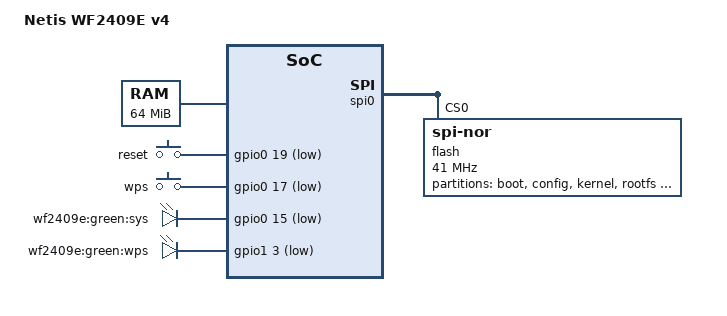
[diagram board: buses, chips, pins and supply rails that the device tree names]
// SPDX-License-Identifier: GPL-2.0
/dts-v1/;

#include "RTL8197F.dtsi"

#include <dt-bindings/gpio/gpio.h>
#include <dt-bindings/input/input.h>

/ {
	compatible = "netis,wf2409e-v4", "realtek,rtl8197f-soc";
	model = "Netis WF2409E v4";

	memory {
		device_type = "memory";
		reg = <0x0 0x4000000>;
	};

	chosen {
		bootargs = "console=ttyS0,38400 root=/dev/mtdblock3 rootfstype=squashfs rootwait";
	};

	gpio-keys-polled {
		compatible = "gpio-keys-polled";
		#address-cells = <1>;
		#size-cells = <0>;
		poll-interval = <20>;

		reset {
			label = "reset";
			gpios = <&gpio0 19 GPIO_ACTIVE_LOW>;
			linux,code = <KEY_RESTART>;
		};

		wps {
			label = "wps";
			gpios = <&gpio0 17 GPIO_ACTIVE_LOW>;
			linux,code = <KEY_WPS_BUTTON>;
		};
	};

	gpio-leds {
		compatible = "gpio-leds";

		sys {
			label = "wf2409e:green:sys";
			gpios = <&gpio0 15 GPIO_ACTIVE_LOW>;
			default-state = "on";
		};

		wps {
			label = "wf2409e:green:wps";
			gpios = <&gpio1 3 GPIO_ACTIVE_LOW>;
			default-state = "off";
		};
	};
};

/*
 * The WF2409E has only the internal RTL865x 5-port switch. The ADCDS
 * rtl819x-eth driver otherwise force-configures port 0 as an RGMII trunk to
 * an external RTL8367S, which would turn a LAN jack into a dead RGMII port.
 */
&ethernet {
	realtek,no-external-switch;
};

&gpio0 {
	status = "okay";
};

&gpio1 {
	status = "okay";
};

&pcie0 {
	status = "disabled";
};

&wmac {
	status = "disabled";
};

&spi0 {
	status = "okay";

	flash@0 {
		#address-cells = <1>;
		#size-cells = <1>;
		compatible = "jedec,spi-nor";
		reg = <0>;
		spi-max-frequency = <41000000>;

		partition@0 {
			label = "boot";
			reg = <0x0 0x20000>;
			read-only;
		};

		partition@20000 {
			label = "config";
			reg = <0x20000 0x10000>;
			read-only;
		};

		partition@30000 {
			label = "kernel";
			reg = <0x30000 0x2d0000>;
		};

		partition@300000 {
			label = "rootfs";
			reg = <0x300000 0x4bc000>;
		};

		/*
		 * Possible per-unit factory data (COMPHS-style calibration).
		 * Read-only and outside the OpenWrt image on purpose.
		 */
		partition@7bc000 {
			label = "factory";
			reg = <0x7bc000 0x3c000>;
			read-only;
		};

		partition@7f8000 {
			label = "netis";
			reg = <0x7f8000 0x4000>;
			read-only;
		};

		partition@7fc000 {
			label = "reserved";
			reg = <0x7fc000 0x4000>;
			read-only;
		};
	};
};
